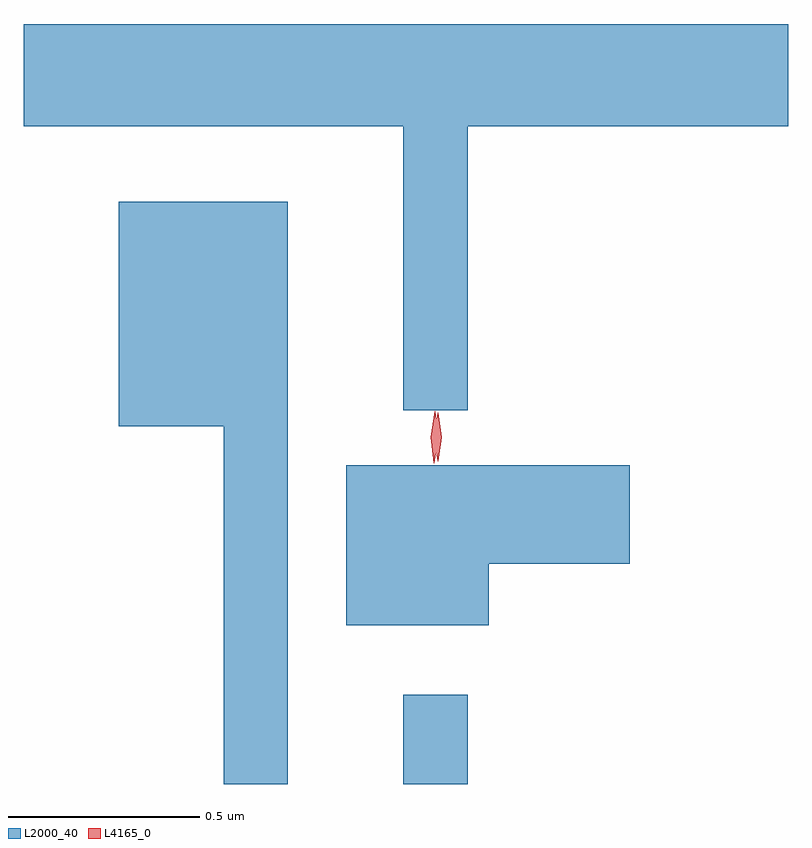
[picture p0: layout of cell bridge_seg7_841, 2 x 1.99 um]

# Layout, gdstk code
import gdstk
lib = gdstk.Library(unit=1e-6, precision=1e-09)
def R(c, l, rs):  # rectangles x0, y0, x1, y1
    for r in rs: c.add(gdstk.rectangle(r[:2], r[2:], *l))
def P(c, l, *ps):  # polygons
    for p in ps: c.add(gdstk.Polygon(p, *l))
L2000_40 = (2000, 40)
L4165_0 = (4165, 0)

bridge_seg7_841 = lib.new_cell('bridge_seg7_841')
R(bridge_seg7_841, L2000_40, [(241.911,1761.435,242.079,1761.668)])
P(bridge_seg7_841, L2000_40, [(242.079,1763.156),(242.918,1763.156),(242.918,1763.424),(240.918,1763.424),(240.918,1763.156),(241.911,1763.156),(241.911,1762.413),(242.079,1762.413)],
  [(241.609,1762.959),(241.166,1762.959),(241.166,1762.371),(241.441,1762.371),(241.441,1761.435),(241.609,1761.435)],
  [(242.134,1762.011),(242.504,1762.011),(242.504,1762.269),(241.761,1762.269),(241.761,1761.851),(242.134,1761.851)])
P(bridge_seg7_841, L4165_0, [(241.991,1762.274),(241.983,1762.342),(241.993,1762.41),(241.993,1762.41),(241.994,1762.41),(242.002,1762.342),(241.992,1762.274),(241.992,1762.274)],
  [(242.001,1762.28),(241.991,1762.343),(242.001,1762.406),(242.001,1762.407),(242.002,1762.406),(242.011,1762.343),(242.002,1762.28),(242.002,1762.28)])

lib.write_gds('bridge_seg7_841.gds')
